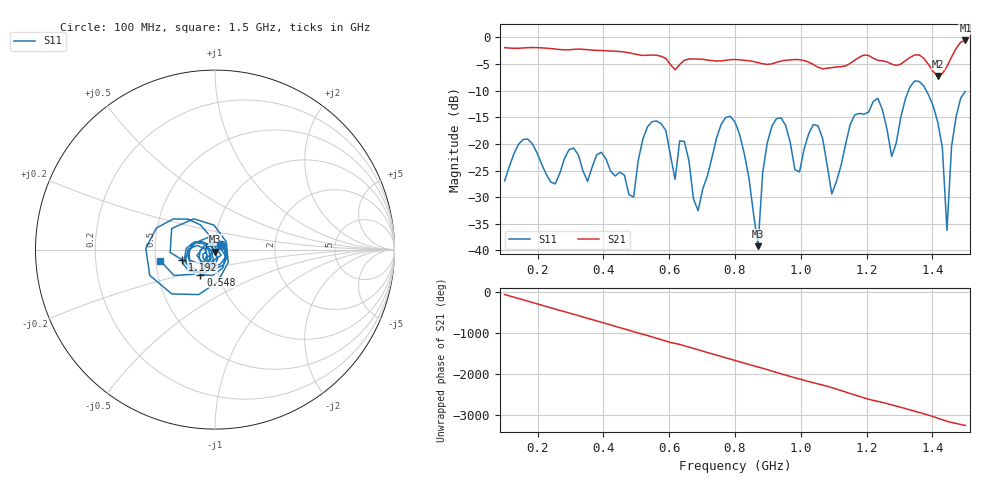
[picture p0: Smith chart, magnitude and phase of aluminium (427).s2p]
! NanoVNA-App
! Date: 2025-09-25 14:58:36
! Start: 100MHz Stop: 1,5GHz Points: 101
! S-Parameter data: F S11 S21 S12 S22
# Hz S RI R 50
!  Frequency  S11_Real  S11_Imag  S21_Real  S21_Imag  S12_Real  S12_Imag  S22_Real  S22_Imag
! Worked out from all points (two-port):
!   101 points, 100 MHz to 1.5 GHz, reference 50 ohm
!   highest |S21| = -0.56 dB at 1.5 GHz (marker M1); lowest = -7.2 dB at 1.416 GHz (marker M2)
!   |S21| within 3 dB of the highest: start of sweep to 576.5 MHz; 1.459 GHz to end of sweep (the widest 2 of 4)
!   lowest |S11| = -39.2 dB at 870 MHz (marker M3), VSWR 1.02, Z = 50.2 - j1.08 ohm
!   |S11| at or under -10 dB: start of sweep to 1.327 GHz; 1.381 GHz to end of sweep
!   S12 and S22 are empty: the file has one direction only
!   S11 on the Smith chart (normalised r, x): 100 MHz: 1.07, +0.06; 548 MHz: 0.82, -0.23; 1.192 GHz: 0.69, -0.08; 1.5 GHz: 0.53, -0.07
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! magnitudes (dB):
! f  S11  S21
! 100 MHz  -27.0  -1.9
! 156 MHz  -19.2  -2.0
! 338 MHz  -25.1  -2.2
! 492 MHz  -30.0  -3.1
! 548 MHz  -15.8  -3.3
! 576 MHz  -16.2  -3.5
! 646 MHz  -19.5  -4.3
! 688 MHz  -32.5  -4.1
! 800 MHz  -15.9  -4.1
! 870 MHz  -39.2  -4.7
! 912 MHz  -16.7  -5.0
! 996 MHz  -25.3  -4.2
! 1.038 GHz  -16.4  -5.1
! 1.094 GHz  -29.4  -5.7
! 1.192 GHz  -14.4  -3.3
! 1.234 GHz  -11.4  -4.3
! 1.276 GHz  -22.4  -5.0
! 1.346 GHz  -8.2  -3.3
! 1.416 GHz  -15.9  -7.2
! 1.444 GHz  -36.2  -5.5
! 1.458 GHz  -20.5  -3.7
! 1.5 GHz  -10.1  -0.6
